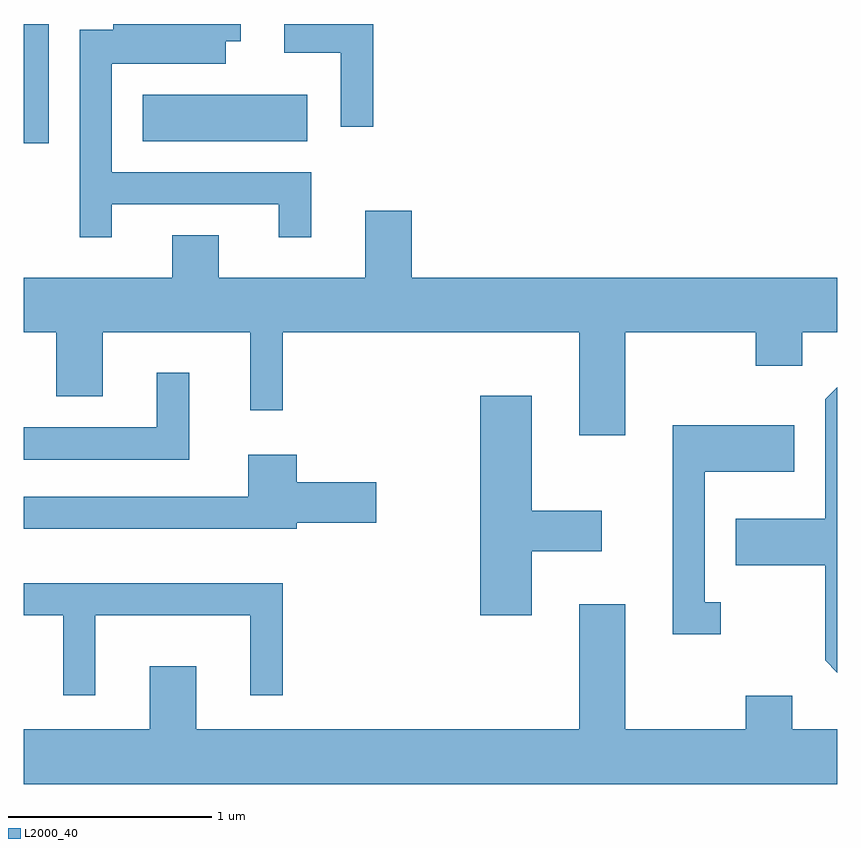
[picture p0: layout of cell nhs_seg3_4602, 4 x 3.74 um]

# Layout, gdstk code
import gdstk
lib = gdstk.Library(unit=1e-6, precision=1e-09)
def R(c, l, rs):  # rectangles x0, y0, x1, y1
    for r in rs: c.add(gdstk.rectangle(r[:2], r[2:], *l))
def P(c, l, *ps):  # polygons
    for p in ps: c.add(gdstk.Polygon(p, *l))
L2000_40 = (2000, 40)

nhs_seg3_4602 = lib.new_cell('nhs_seg3_4602')
R(nhs_seg3_4602, L2000_40, [(319.611,1211.306,319.734,1211.892), (320.196,1211.316,321.004,1211.544)])
P(nhs_seg3_4602, L2000_40, [(321.329,1211.892),(320.891,1211.892),(320.891,1211.751),(321.171,1211.751),(321.171,1211.388),(321.329,1211.388)],
  [(320.044,1211.006),(320.866,1211.006),(320.866,1210.843),(321.024,1210.843),(321.024,1211.164),(320.044,1211.164),(320.044,1211.696),(320.604,1211.696),(320.604,1211.806),(320.679,1211.806),(320.679,1211.892),(320.051,1211.892),(320.051,1211.864),(319.886,1211.864),(319.886,1210.843),(320.044,1210.843)],
  [(322.569,1210.376),(323.211,1210.376),(323.211,1210.211),(323.439,1210.211),(323.439,1210.376),(323.611,1210.376),(323.611,1210.644),(321.519,1210.644),(321.519,1210.974),(321.291,1210.974),(321.291,1210.644),(320.569,1210.644),(320.569,1210.854),(320.341,1210.854),(320.341,1210.644),(319.611,1210.644),(319.611,1210.376),(319.771,1210.376),(319.771,1210.061),(319.999,1210.061),(319.999,1210.376),(320.726,1210.376),(320.726,1209.993),(320.884,1209.993),(320.884,1210.376),(322.341,1210.376),(322.341,1209.871),(322.569,1209.871)],
  [(320.424,1210.178),(320.266,1210.178),(320.266,1209.909),(319.611,1209.909),(319.611,1209.751),(320.424,1209.751)],
  [(323.611,1210.107),(323.551,1210.047),(323.551,1209.459),(323.111,1209.459),(323.111,1209.231),(323.551,1209.231),(323.551,1208.764),(323.611,1208.704)],
  [(322.109,1209.301),(322.454,1209.301),(322.454,1209.499),(322.109,1209.499),(322.109,1210.064),(321.856,1210.064),(321.856,1208.986),(322.109,1208.986)],
  [(323.038,1209.049),(322.959,1209.049),(322.959,1209.691),(323.399,1209.691),(323.399,1209.919),(322.801,1209.919),(322.801,1208.891),(323.038,1208.891)],
  [(320.954,1209.441),(321.344,1209.441),(321.344,1209.639),(320.954,1209.639),(320.954,1209.774),(320.716,1209.774),(320.716,1209.569),(319.611,1209.569),(319.611,1209.411),(320.954,1209.411)],
  [(319.964,1208.986),(320.726,1208.986),(320.726,1208.593),(320.884,1208.593),(320.884,1209.144),(319.611,1209.144),(319.611,1208.986),(319.806,1208.986),(319.806,1208.593),(319.964,1208.593)],
  [(323.611,1208.424),(323.389,1208.424),(323.389,1208.589),(323.161,1208.589),(323.161,1208.424),(322.569,1208.424),(322.569,1209.039),(322.341,1209.039),(322.341,1208.424),(320.459,1208.424),(320.459,1208.734),(320.231,1208.734),(320.231,1208.424),(319.611,1208.424),(319.611,1208.156),(323.611,1208.156)])

lib.write_gds('nhs_seg3_4602.gds')
